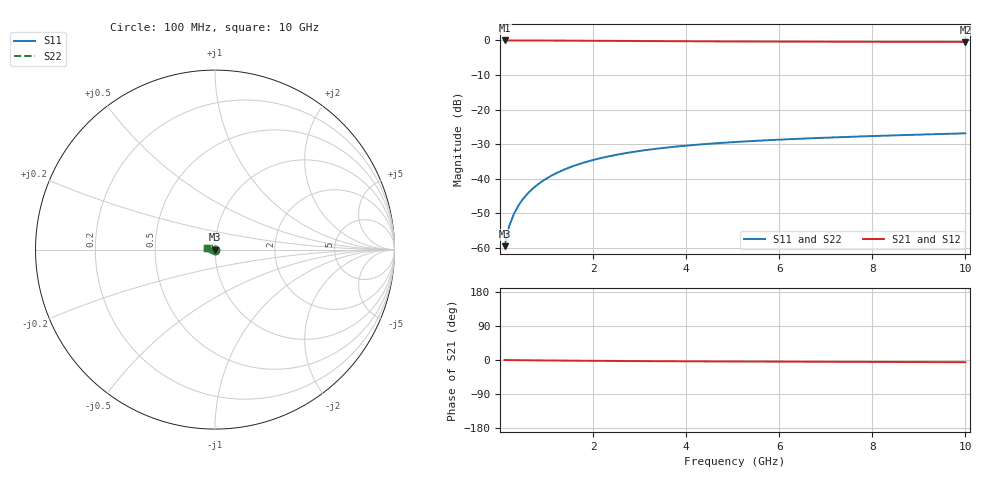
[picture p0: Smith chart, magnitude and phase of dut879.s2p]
! Touchstone file exported from HFSS 2024.1.0
!  File:  C:/UserFiles/LocalFiles/RDL_TSV_Batchsim/temp_TSV1_879_1779883575.aedt
!  Generated:  08:11:45 PM May 27, 2026
!  Design:  TSV1
!  Project:  temp_TSV1_879_1779883575
!  Setup:  Setup1
!  Solution:  Sweep
! Variables:
!  dtsv = 7.72um
!  hbump = 3um
!  htsv = 91.69um
!  lrdl = 252.1521522um
!  p = 40
!  p1 = 46.64um
!  t = 500um
!  trdl = 3um
!  wrdl = 24.89489489um
# GHz S MA R 50.000000
! Terminal data exported
! Port[1] = TSV22_T1
! Port[2] = TSV22_T2
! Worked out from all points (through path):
!   100 points, 100 MHz to 10 GHz, reference 50 ohm
!   highest |S21| = 0.00 dB at 100 MHz (marker M1); lowest = -0.4 dB at 10 GHz (marker M2)
!   lowest |S11| = -59.5 dB at 100 MHz (marker M3), VSWR 1.00, Z = 50 - j0.103 ohm
!   |S11| at or under -10 dB: start of sweep to end of sweep
!   |S22| runs from -59.5 to -26.9 dB; largest |S21 - S12| = 3e-15
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0.1  0.001058 -77.3  0.9997 -0.1  0.9997 -0.1  0.001058 -77.3
! Gamma 0 0 0 0
! Port Impedance 50 0 50 0
0.2  0.002078 -86.1  0.9996 -0.2  0.9996 -0.2  0.002078 -86.1
0.3  0.003106 -90.3  0.9994 -0.4  0.9994 -0.4  0.003106 -90.3
0.4  0.00413 -93.4  0.9992 -0.5  0.9992 -0.5  0.00413 -93.4
0.5  0.005148 -95.9  0.9989 -0.6  0.9989 -0.6  0.005148 -95.9
0.6  0.006156 -98.2  0.9985 -0.7  0.9985 -0.7  0.006156 -98.2
0.7  0.007154 -100.3  0.9981 -0.9  0.9981 -0.9  0.007154 -100.3
0.8  0.00814 -102.4  0.9976 -1.0  0.9976 -1.0  0.00814 -102.4
0.9  0.009112 -104.3  0.9971 -1.1  0.9971 -1.1  0.009112 -104.3
1.1  0.01101 -108.1  0.996 -1.3  0.996 -1.3  0.01101 -108.1
1.4  0.01373 -113.4  0.9939 -1.6  0.9939 -1.6  0.01373 -113.4
1.6  0.01545 -116.7  0.9924 -1.8  0.9924 -1.8  0.01545 -116.7
1.8  0.01708 -120.0  0.9908 -2.0  0.9908 -2.0  0.01708 -120.0
2.1  0.01938 -124.6  0.9883 -2.3  0.9883 -2.3  0.01938 -124.6
2.5  0.02216 -130.5  0.9849 -2.6  0.9849 -2.6  0.02216 -130.5
2.9  0.02463 -135.9  0.9816 -2.8  0.9816 -2.8  0.02463 -135.9
3.4  0.02732 -142.1  0.9777 -3.1  0.9777 -3.1  0.02732 -142.1
4.2  0.03089 -150.9  0.9721 -3.5  0.9721 -3.5  0.03089 -150.9
5.1  0.0341 -159.5  0.9669 -3.9  0.9669 -3.9  0.0341 -159.5
6.7  0.03849 -172.1  0.9602 -4.6  0.9602 -4.6  0.03849 -172.1
8.4  0.04222 177.1  0.9553 -5.2  0.9553 -5.2  0.04222 177.1
10  0.04533 168.5  0.9521 -5.8  0.9521 -5.8  0.04534 168.5
